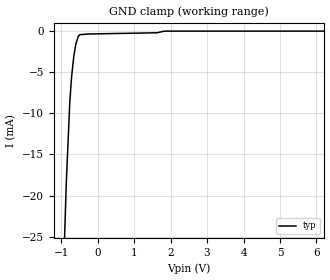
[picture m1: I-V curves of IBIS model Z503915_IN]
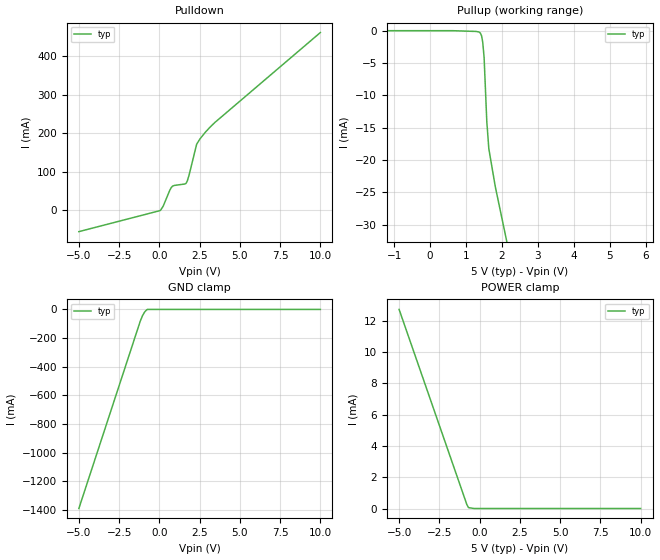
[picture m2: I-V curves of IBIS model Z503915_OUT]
| YOU ARE ONLY AUTHORIZED TO USE THIS SOFTWARE
| ACCORDING TO LICENSOR'S LICENSE RESTRICTIONS.
[IBIS Ver] 3.1
[File Name] mc54f174j.ibs
[File Rev] 2.0
[Source] Measured and created by ICX Technology
[Date] Friday 7/14/00 9:08:02 AM
[Copyright]
| (C) COPYRIGHT 1993-2000
| MENTOR GRAPHICS CORPORATION
| ICX STANDARD LIBRARY, ICX PROJECT MODELING,
| ICX CUSTOM MODELING, ICX VENDOR MODEL
| ALL RIGHTS RESERVED.
| THE FOLLOWING ARE TRADEMARKS OR SERVICE MARKS OF
| MENTOR GRAPHICS CORPORATION:ICX (R), ICX STANDARD
| LIBRARY(R), ICX PROJECT MODELING(R), ICX CUSTOM
| MODELING(R), qualityIBIS(TM), MODELVIEWER(TM),
| AND MODELEDITOR(TM)
| ALL COPIES OF SOFTWARE, INCLUDING BUT NOT LIMITED TO
| ANY MODIFICATIONS, ENHANCEMENTS OR DERIVATIVE WORKS,
| MUST CONTAIN ALL MENTOR GRAPHICS CORPORATION'S
| NOTICES AND LEGENDS, INCLUDING THOSE EMBEDDED IN
| SOFTWARE AND THOSE AFFIXED TO SOFTWARE MEDIUM
| AND CONTAINER, AS RECEIVED FROM MENTOR GRAPHICS
| CORPORATION.
|  ZAP Model Builder 2.7
[Component] MC54F174J
[Manufacturer] OnSemiconductor
[Package]
| variable   typ   min   max
R_pkg  .212ohms NA NA
L_pkg  4.758nH NA NA
C_pkg  1.944pF NA NA
[Pin] signal_name  model_name  R_pin  L_pin C_pin
1 _CLR Z503915_IN .224 7.258n 2.683p
2 Q0 Z503915_OUT .216 5.258n 2.19p
3 D0 Z503915_IN .208 3.758n 1.697p
4 D1 Z503915_IN .2 2.758n 1.204p
5 Q1 Z503915_OUT .2 2.758n 1.204p
6 D2 Z503915_IN .208 3.758n 1.697p
7 Q2 Z503915_OUT .216 5.258n 2.19p
8 GND GND .224 7.258n 2.683p
9 CLK Z503915_IN .224 7.258n 2.683p
10 Q3 Z503915_OUT .216 5.258n 2.19p
11 D3 Z503915_IN .208 3.758n 1.697p
12 Q4 Z503915_OUT .2 2.758n 1.204p
13 D4 Z503915_IN .2 2.758n 1.204p
14 D5 Z503915_IN .208 3.758n 1.697p
15 Q5 Z503915_OUT .216 5.258n 2.19p
16 VCC POWER .224 7.258n 2.683p
| Models and submodels in the file (2): Z503915_IN (Input), Z503915_OUT (Output)
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| (C) COPYRIGHT 1993-2000
| MENTOR GRAPHICS CORPORATION
| ICX STANDARD LIBRARY, ICX PROJECT MODELING,
| ICX CUSTOM MODELING, ICX VENDOR MODEL
| ALL RIGHTS RESERVED.
| THE FOLLOWING ARE TRADEMARKS OR SERVICE MARKS OF
| MENTOR GRAPHICS CORPORATION:ICX (R), ICX STANDARD
| LIBRARY(R), ICX PROJECT MODELING(R), ICX CUSTOM
| MODELING(R), qualityIBIS(TM), MODELVIEWER(TM),
| AND MODELEDITOR(TM)
| ALL COPIES OF SOFTWARE, INCLUDING BUT NOT LIMITED TO
| ANY MODIFICATIONS, ENHANCEMENTS OR DERIVATIVE WORKS,
| MUST CONTAIN ALL MENTOR GRAPHICS CORPORATION'S
| NOTICES AND LEGENDS, INCLUDING THOSE EMBEDDED IN
| SOFTWARE AND THOSE AFFIXED TO SOFTWARE MEDIUM
| AND CONTAINER, AS RECEIVED FROM MENTOR GRAPHICS
| CORPORATION.
| Model Application Version 1.89 2/18/99.
[Model] Z503915_IN
Model_type Input
Vinl = 800.0mV
Vinh = 2.000V
C_comp 4.000pF NA NA
| variable typ   min   max
[Voltage Range] 5.000V NA NA
[GND Clamp Reference] 0.000V NA NA
[POWER Clamp Reference] 5.000V NA NA
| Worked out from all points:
|   GND clamp passes 1 mA (typ) near -0.56 V on its own axis
[GND Clamp]
-5V       -606mA     NA         NA
-859.3mV  -18.6mA    NA         NA
-761.6mV  -8.57mA    NA         NA
-712.9mV  -5.566mA   NA         NA
-654.3mV  -3.133mA   NA         NA
-594.1mV  -1.511mA   NA         NA
-525.4mV  -598.8uA   NA         NA
-483.1mV  -429.3uA   NA         NA
-241.5mV  -348.2uA   NA         NA
1.627V    -202.9uA   NA         NA
1.826V    -3.078uA   NA         NA
10V       4.177uA    NA         NA
[POWER Clamp]
-5V       0A         NA         NA
10V       0A         NA         NA
| (C) COPYRIGHT 1993-2000
| MENTOR GRAPHICS CORPORATION
| ICX STANDARD LIBRARY, ICX PROJECT MODELING,
| ICX CUSTOM MODELING, ICX VENDOR MODEL
| ALL RIGHTS RESERVED.
| THE FOLLOWING ARE TRADEMARKS OR SERVICE MARKS OF
| MENTOR GRAPHICS CORPORATION:ICX (R), ICX STANDARD
| LIBRARY(R), ICX PROJECT MODELING(R), ICX CUSTOM
| MODELING(R), qualityIBIS(TM), MODELVIEWER(TM),
| AND MODELEDITOR(TM)
| ALL COPIES OF SOFTWARE, INCLUDING BUT NOT LIMITED TO
| ANY MODIFICATIONS, ENHANCEMENTS OR DERIVATIVE WORKS,
| MUST CONTAIN ALL MENTOR GRAPHICS CORPORATION'S
| NOTICES AND LEGENDS, INCLUDING THOSE EMBEDDED IN
| SOFTWARE AND THOSE AFFIXED TO SOFTWARE MEDIUM
| AND CONTAINER, AS RECEIVED FROM MENTOR GRAPHICS
| CORPORATION.
| Model Application Version 1.89 2/18/99.
[Model] Z503915_OUT
Model_type Output
Vref=0.000V
Rref=500.0ohms
Cref=50.00pF
Vmeas=1.500V
C_comp 8.000pF NA NA
| variable typ   min   max
[Voltage Range] 5.000V NA NA
[POWER Clamp Reference] 5.000V NA NA
[Pullup Reference] 5.000V NA NA
[Pulldown Reference] 0.000V NA NA
[GND Clamp Reference] 0.000V NA NA
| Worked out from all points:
|   slope of the pulldown table from 0 to 0.75 V, typ, clamps not added: 12.3 ohm
|   slope of the pullup table from 0 to 0.75 V, typ, clamps not added: 33.9 kohm
|   GND clamp passes 1 mA (typ) near -0.76 V on its own axis
[GND Clamp]
-5V       -1.391A    NA         NA
-1.182V   -80.8mA    NA         NA
-1.045V   -43.41mA   NA         NA
-916.6mV  -18.43mA   NA         NA
-828.2mV  -7.085mA   NA         NA
-745.4mV  0A         NA         NA
10V       0A         NA         NA
[Pulldown]
-5V       -55.73mA   NA         NA
68.51mV   -540.2uA   NA         NA
238mV     10.34mA    NA         NA
649.5mV   51.83mA    NA         NA
819.1mV   62.34mA    NA         NA
1.666V    70.16mA    NA         NA
1.743V    76.69mA    NA         NA
1.845V    90.82mA    NA         NA
2.315V    170.9mA    NA         NA
2.861V    202.4mA    NA         NA
3.429V    226.8mA    NA         NA
10V       460.8mA    NA         NA
[Pullup]
-5V       16.97uA    NA         NA
625mV     16.97uA    NA         NA
1.28V     -98.94uA   NA         NA
1.362V    -184.3uA   NA         NA
1.401V    -358.9uA   NA         NA
1.436V    -821.3uA   NA         NA
1.465V    -1.735mA   NA         NA
1.504V    -4.114mA   NA         NA
1.579V    -14.04mA   NA         NA
1.636V    -18.26mA   NA         NA
1.816V    -24.12mA   NA         NA
10V       -241.1mA   NA         NA
[POWER Clamp]
-5V       12.72mA    NA         NA
-788mV    240.1uA    NA         NA
-688mV    58.15uA    NA         NA
-344mV    0A         NA         NA
10V       0A         NA         NA
[Ramp]
| variable typ min max
dV/dt_r 2.040/2.008n NA NA
dV/dt_f 2.040/1.382n NA NA
R_load = 500.0Ohms
